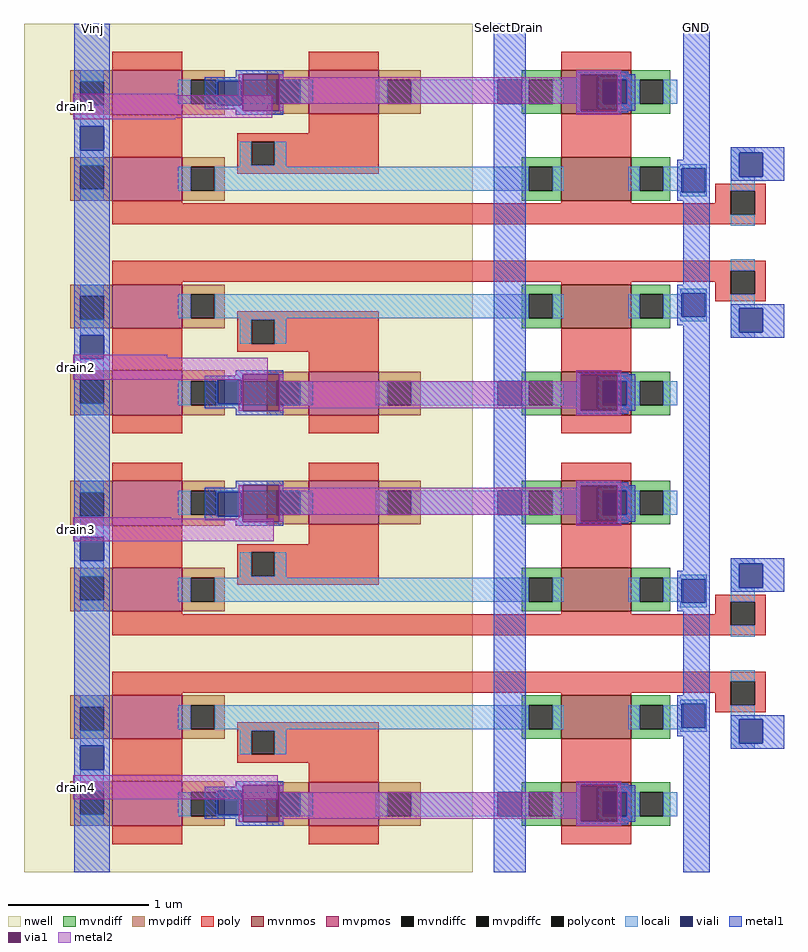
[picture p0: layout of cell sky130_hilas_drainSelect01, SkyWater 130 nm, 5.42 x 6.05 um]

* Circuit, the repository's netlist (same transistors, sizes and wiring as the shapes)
* Copyright 2020 The Hilas PDK Authors
* 
* This file is part of HILAS.
* 
* HILAS is free software: you can redistribute it and/or modify
* it under the terms of the GNU Lesser General Public License as published by
* the Free Software Foundation, version 3 of the License.
* 
* HILAS is distributed in the hope that it will be useful,
* but WITHOUT ANY WARRANTY; without even the implied warranty of
* MERCHANTABILITY or FITNESS FOR A PARTICULAR PURPOSE.  See the
* GNU Lesser General Public License for more details.
* 
* You should have received a copy of the GNU Lesser General Public License
* along with HILAS.  If not, see <https://www.gnu.org/licenses/>.
* 
* Licensed under the Lesser General Public License, Version 3.0 (the "License");
* you may not use this file except in compliance with the License.
* You may obtain a copy of the License at
* 
* https://www.gnu.org/licenses/lgpl-3.0.en.html
* 
* Unless required by applicable law or agreed to in writing, software
* distributed under the License is distributed on an "AS IS" BASIS,
* WITHOUT WARRANTIES OR CONDITIONS OF ANY KIND, either express or implied.
* See the License for the specific language governing permissions and
* limitations under the License.
* 
* SPDX-License-Identifier: LGPL-3.0
* 
* 

* NGSPICE file created from sky130_hilas_drainSelect01.ext - technology: sky130A

.subckt sky130_hilas_TgateVinj01 a_n354_n14# SUB a_86_n14# w_n420_n80# a_n194_n14#
+ a_446_110# DrainSelect
X0 a_n194_n14# DrainSelect a_n354_n14# w_n420_n80# sky130_fd_pr__pfet_g5v0d10v5 w=320000u l=500000u
X1 a_446_110# DrainSelect a_n194_110# SUB sky130_fd_pr__nfet_g5v0d10v5 w=310000u l=500000u
X2 a_n194_n14# DrainSelect a_86_n14# SUB sky130_fd_pr__nfet_g5v0d10v5 w=310000u l=500000u
X3 a_86_n14# a_n194_110# a_n194_n14# w_n420_n80# sky130_fd_pr__pfet_g5v0d10v5 w=310000u l=500000u
X4 a_n194_110# DrainSelect a_n354_n14# w_n420_n80# sky130_fd_pr__pfet_g5v0d10v5 w=310000u l=500000u
.ends

.subckt sky130_hilas_drainSelect01 DRAIN4 DRAIN3 DRAIN2 DRAIN1 DRAINSELECT1 DRAINSELECT2
+ DRAINSELECT3 DRAINSELECT4 VINJ DRAIN_MUX VGND
Xsky130_hilas_TgateVinj01_0 VINJ SUB DRAIN_MUX sky130_hilas_TgateVinj01_3/w_n420_n80#
+ DRAIN2 VGND DRAINSELECT2 sky130_hilas_TgateVinj01
Xsky130_hilas_TgateVinj01_1 VINJ SUB DRAIN_MUX sky130_hilas_TgateVinj01_3/w_n420_n80#
+ DRAIN1 VGND DRAINSELECT1 sky130_hilas_TgateVinj01
Xsky130_hilas_TgateVinj01_2 VINJ SUB DRAIN_MUX sky130_hilas_TgateVinj01_3/w_n420_n80#
+ DRAIN4 VGND DRAINSELECT4 sky130_hilas_TgateVinj01
Xsky130_hilas_TgateVinj01_3 VINJ SUB DRAIN_MUX sky130_hilas_TgateVinj01_3/w_n420_n80#
+ DRAIN3 VGND DRAINSELECT3 sky130_hilas_TgateVinj01
.ends

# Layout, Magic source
magic
tech sky130A
<< metal1 >>
rect 1108 604 1133 610
rect 1407 605 1430 610
rect 1542 605 1561 610
<< metal2 >>
rect 1107 559 1180 560
rect 1107 543 1249 559
rect 1107 542 1180 543
rect 1107 372 1174 374
rect 1107 356 1246 372
rect 1107 257 1177 258
rect 1107 241 1250 257
rect 1107 57 1253 74
use sky130_hilas_TgateVinj01  sky130_hilas_TgateVinj01_2
transform 1 0 1282 0 1 45
box -210 -40 332 119
use sky130_hilas_TgateVinj01  sky130_hilas_TgateVinj01_1
transform 1 0 1282 0 -1 570
box -210 -40 332 119
use sky130_hilas_TgateVinj01  sky130_hilas_TgateVinj01_3
transform 1 0 1282 0 -1 277
box -210 -40 332 119
use sky130_hilas_TgateVinj01  sky130_hilas_TgateVinj01_0
transform 1 0 1282 0 1 338
box -210 -40 332 119
<< labels >>
rlabel metal2 1107 542 1112 560 0 drain1
rlabel metal2 1107 356 1112 374 0 drain2
rlabel metal2 1107 241 1112 258 0 drain3
rlabel metal2 1107 57 1112 74 0 drain4
rlabel metal1 1108 604 1133 610 0 Vinj
port 1 nsew
rlabel metal1 1407 605 1430 610 0 SelectDrain
port 2 nsew
rlabel metal1 1542 605 1561 610 0 GND
port 3 nsew
<< end >>

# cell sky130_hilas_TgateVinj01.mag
magic
tech sky130A
<< nwell >>
rect -210 -40 110 119
<< mvnmos >>
rect 173 55 223 86
rect 173 -7 223 24
<< mvpmos >>
rect -147 55 -97 86
rect -147 -7 -97 25
rect -7 -7 43 24
<< mvndiff >>
rect 145 79 173 86
rect 145 62 150 79
rect 167 62 173 79
rect 145 55 173 62
rect 223 79 251 86
rect 223 62 229 79
rect 246 62 251 79
rect 223 55 251 62
rect 145 17 173 24
rect 145 0 150 17
rect 167 0 173 17
rect 145 -7 173 0
rect 223 17 251 24
rect 223 0 229 17
rect 246 0 251 17
rect 223 -7 251 0
<< mvpdiff >>
rect -177 78 -147 86
rect -177 61 -170 78
rect -153 61 -147 78
rect -177 55 -147 61
rect -97 79 -67 86
rect -97 62 -91 79
rect -74 62 -67 79
rect -97 55 -67 62
rect -177 18 -147 25
rect -177 1 -170 18
rect -153 1 -147 18
rect -177 -7 -147 1
rect -97 17 -67 25
rect -97 0 -91 17
rect -73 0 -67 17
rect -97 -7 -67 0
rect -37 17 -7 24
rect -37 0 -30 17
rect -13 0 -7 17
rect -37 -7 -7 0
rect 43 17 73 24
rect 43 0 49 17
rect 66 0 73 17
rect 43 -7 73 0
<< mvndiffc >>
rect 150 62 167 79
rect 229 62 246 79
rect 150 0 167 17
rect 229 0 246 17
<< mvpdiffc >>
rect -170 61 -153 78
rect -91 62 -74 79
rect -170 1 -153 18
rect -91 0 -73 17
rect -30 0 -13 17
rect 49 0 66 17
<< poly >>
rect -147 96 319 103
rect -147 88 294 96
rect -147 86 -97 88
rect 173 86 223 88
rect -58 61 43 67
rect -147 25 -97 55
rect -58 44 -48 61
rect -31 44 43 61
rect 283 79 294 88
rect 311 79 319 96
rect 283 74 319 79
rect -58 38 43 44
rect -7 24 43 38
rect 173 24 223 55
rect -147 -20 -97 -7
rect -7 -20 43 -7
rect 173 -20 223 -7
<< polycont >>
rect -48 44 -31 61
rect 294 79 311 96
<< locali >>
rect 294 96 311 104
rect -170 78 -153 86
rect -100 62 -91 79
rect -74 62 150 79
rect 167 62 175 79
rect 221 62 229 79
rect 246 62 258 79
rect 294 69 311 79
rect -170 50 -153 61
rect -56 61 -23 62
rect -56 44 -48 61
rect -31 44 -23 61
rect 294 52 300 69
rect 294 48 311 52
rect -170 18 -153 33
rect -170 -7 -153 1
rect -100 0 -91 17
rect -73 1 -72 17
rect 199 17 223 21
rect -55 1 -30 17
rect -73 0 -30 1
rect -13 0 -4 17
rect 41 0 49 17
rect 66 0 128 17
rect 145 0 150 17
rect 167 0 175 17
rect 199 0 203 17
rect 220 0 229 17
rect 246 0 256 17
rect 199 -3 223 0
<< viali >>
rect -170 33 -153 50
rect 300 52 317 69
rect -72 1 -55 18
rect 128 0 145 17
rect 203 0 220 17
<< metal1 >>
rect -174 50 -149 119
rect -174 33 -170 50
rect -153 33 -149 50
rect -174 -40 -149 33
rect -59 22 -25 25
rect -59 21 -54 22
rect -81 18 -54 21
rect -81 1 -72 18
rect -55 1 -54 18
rect -81 -2 -54 1
rect -59 -4 -54 -2
rect -28 17 -25 22
rect 125 17 148 119
rect -28 0 -13 17
rect 125 0 128 17
rect 145 0 148 17
rect -28 -4 -25 0
rect -59 -7 -25 -4
rect 125 -40 148 0
rect 184 22 221 23
rect 184 -4 187 22
rect 213 17 226 22
rect 220 0 226 17
rect 213 -4 226 0
rect 184 -6 221 -4
rect 260 -40 279 119
rect 294 69 332 72
rect 294 52 300 69
rect 317 52 332 69
rect 294 48 332 52
<< via1 >>
rect -54 -4 -28 22
rect 187 17 213 22
rect 187 0 203 17
rect 203 0 213 17
rect 187 -4 213 0
<< metal2 >>
rect 184 22 216 25
rect -57 -4 -54 22
rect -28 17 -25 22
rect 184 17 187 22
rect -28 -2 187 17
rect -28 -4 -25 -2
rect 184 -4 187 -2
rect 213 -4 216 22
rect 184 -7 216 -4
use sky130_hilas_li2m1  sky130_hilas_li2m1_0
transform 1 0 266 0 1 65
box -10 -8 13 21
<< labels >>
rlabel metal1 327 48 332 72 0 DrainSelect
<< end >>

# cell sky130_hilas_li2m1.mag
magic
tech sky130A
<< locali >>
rect -8 15 11 18
rect -8 -2 -7 15
rect 10 -2 11 15
rect -8 -5 11 -2
<< viali >>
rect -7 -2 10 15
<< metal1 >>
rect -10 15 13 21
rect -10 -2 -7 15
rect 10 -2 13 15
rect -10 -8 13 -2
<< end >>
